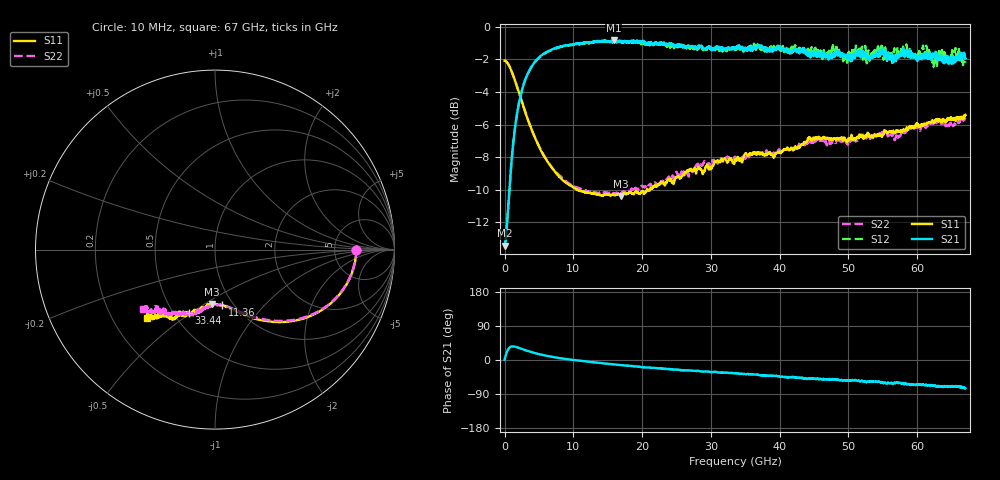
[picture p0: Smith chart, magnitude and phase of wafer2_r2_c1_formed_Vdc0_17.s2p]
!Keysight Technologies,N5227A,US51270248,A.10.65.08
!Date: Tuesday, June 11, 2024 07:11:05
!Correction: S11(Full 2 Port(1,4))
!S41(Full 2 Port(1,4))
!S14(Full 2 Port(1,4))
!S44(Full 2 Port(1,4))
!S2P File: Measurements: S11, S41, S14, S44:
# Hz S  dB  R 50
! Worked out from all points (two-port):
!   3201 points, 10 MHz to 67 GHz, reference 50 ohm
!   highest |S21| = -0.83 dB at 15.88 GHz (marker M1); lowest = -13.4 dB at 10 MHz (marker M2)
!   |S21| within 3 dB of the highest: 2.563 GHz to end of sweep
!   lowest |S11| = -10.4 dB at 16.97 GHz (marker M3), VSWR 1.87, Z = 40.2 - j26.8 ohm
!   |S11| at or under -10 dB: 10.59443 GHz to 10.6104 GHz (15.97 MHz wide, 0.151 % of centre); 10.66 GHz to 20.68 GHz (10.02 GHz wide, 63.9 % of centre); 20.77 GHz to 21.11 GHz (340.5 MHz wide, 1.63 % of centre)
!   |S22| runs from -10.3 to -2.1 dB; largest |S21 - S12| = 0.094
!   S11 on the Smith chart (normalised r, x): 10 MHz: 8.40, -0.15; 11.36 GHz: 0.88, -0.61; 33.44 GHz: 0.59, -0.49; 67 GHz: 0.35, -0.37
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1e7  -2.08 -0.2  -13.43 0.7  -13.46 0.8  -2.08 -0.2
1.475406e9  -3.24 -28.7  -6.35 35.3  -6.35 35.2  -3.25 -28.3
3.087353e9  -5.32 -48.2  -3.15 25.5  -3.16 25.4  -5.33 -47.2
6.101903e9  -8.19 -67.1  -1.54 11.1  -1.58 11.0  -8.16 -65.3
1.118896e10  -10.09 -82.5  -1.00 -2.4  -1.04 -2.6  -9.95 -80.9
1.135643e10  -10.11 -82.9  -1.00 -2.8  -1.02 -2.9  -9.98 -81.2
1.587826e10  -10.33 -92.1  -0.83 -11.5  -0.91 -11.2  -10.23 -91.1
1.696684e10  -10.38 -93.6  -0.85 -13.5  -0.95 -13.5  -10.22 -92.4
2.234698e10  -9.68 -99.4  -1.05 -21.6  -1.04 -21.3  -9.72 -100.1
3.34422e10  -8.35 -112.5  -1.38 -34.8  -1.29 -34.6  -7.99 -115.8
3.3505e10  -8.21 -112.8  -1.33 -34.7  -1.42 -34.7  -7.97 -116.6
4.468396e10  -6.88 -122.8  -1.60 -49.0  -1.30 -48.1  -7.03 -125.9
5.012689e10  -6.95 -126.8  -1.89 -53.8  -1.56 -53.0  -7.05 -130.1
5.173884e10  -6.67 -127.4  -1.76 -56.8  -1.83 -54.5  -6.76 -131.1
5.297397e10  -6.64 -129.5  -1.90 -57.6  -1.50 -57.0  -6.67 -133.9
5.460685e10  -6.65 -129.6  -1.43 -58.1  -1.80 -56.6  -6.56 -133.1
5.584198e10  -6.44 -129.4  -1.69 -60.2  -1.80 -60.2  -6.71 -135.3
5.730738e10  -6.39 -130.0  -1.89 -60.6  -1.66 -60.9  -6.72 -133.7
6.153613e10  -5.91 -131.7  -1.95 -67.4  -1.69 -68.0  -6.08 -136.3
6.264565e10  -5.73 -131.5  -1.62 -67.3  -1.91 -68.1  -5.82 -137.9
6.375517e10  -5.72 -133.9  -1.85 -70.7  -1.64 -70.2  -5.88 -140.1
6.7e10  -5.40 -134.8  -1.94 -74.3  -2.20 -74.9  -5.66 -140.2
